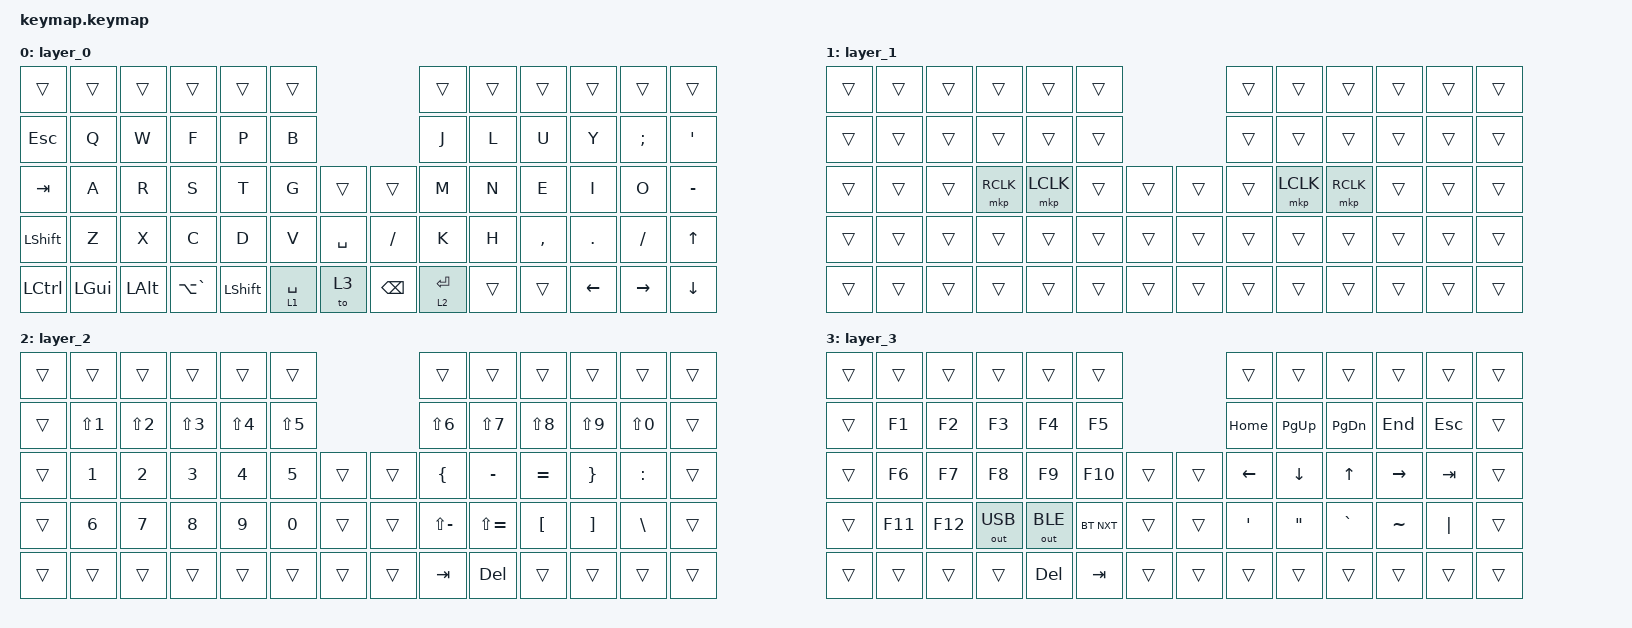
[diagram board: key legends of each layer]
#include <behaviors.dtsi>
#include <dt-bindings/zmk/bt.h>
#include <dt-bindings/zmk/keys.h>
#include <dt-bindings/zmk/outputs.h>
#include <dt-bindings/zmk/pointing.h>

/ {
    combos {
        compatible = "zmk,combos";

        bt_clear {
            bindings = <&bt BT_CLR>;
            key-positions = <28 29>;
            layers = <2>;
        };
    };

    keymap {
        compatible = "zmk,keymap";

        layer_0 {
            bindings = <
&trans     &trans        &trans    &trans         &trans      &trans                            &trans       &trans  &trans     &trans    &trans     &trans
&kp ESC    &kp Q         &kp W     &kp F          &kp P       &kp B                             &kp J        &kp L   &kp U      &kp Y     &kp SEMI   &kp SQT
&kp TAB    &kp A         &kp R     &kp S          &kp T       &kp G        &trans     &trans    &kp M        &kp N   &kp E      &kp I     &kp O      &kp MINUS
&kp LSHFT  &kp Z         &kp X     &kp C          &kp D       &kp V        &kp SPACE  &kp FSLH  &kp K        &kp H   &kp COMMA  &kp DOT   &kp FSLH   &kp UP
&kp LCTRL  &kp LEFT_GUI  &kp LALT  &kp LA(GRAVE)  &kp LSHIFT  &lt 1 SPACE  &to 3      &kp BSPC  &lt 2 ENTER  &trans  &trans     &kp LEFT  &kp RIGHT  &kp DOWN
            >;
        };

        layer_1 {
            bindings = <
&trans  &trans  &trans  &trans     &trans     &trans                  &trans  &trans     &trans     &trans  &trans  &trans
&trans  &trans  &trans  &trans     &trans     &trans                  &trans  &trans     &trans     &trans  &trans  &trans
&trans  &trans  &trans  &mkp RCLK  &mkp LCLK  &trans  &trans  &trans  &trans  &mkp LCLK  &mkp RCLK  &trans  &trans  &trans
&trans  &trans  &trans  &trans     &trans     &trans  &trans  &trans  &trans  &trans     &trans     &trans  &trans  &trans
&trans  &trans  &trans  &trans     &trans     &trans  &trans  &trans  &trans  &trans     &trans     &trans  &trans  &trans
            >;
        };

        layer_2 {
            bindings = <
&trans  &trans            &trans            &trans      &trans      &trans                      &trans          &trans         &trans            &trans             &trans         &trans
&trans  &kp LS(NUMBER_1)  &kp LS(NUMBER_2)  &kp LS(N3)  &kp LS(N4)  &kp LS(N5)                  &kp LS(N6)      &kp LS(N7)     &kp LS(N8)        &kp LS(N9)         &kp LS(N0)     &trans
&trans  &kp N1            &kp N2            &kp N3      &kp N4      &kp N5      &trans  &trans  &kp LEFT_BRACE  &kp MINUS      &kp EQUAL         &kp RIGHT_BRACE    &kp COLON      &trans
&trans  &kp N6            &kp N7            &kp N8      &kp N9      &kp N0      &trans  &trans  &kp LS(MINUS)   &kp LS(EQUAL)  &kp LEFT_BRACKET  &kp RIGHT_BRACKET  &kp BACKSLASH  &trans
&trans  &trans            &trans            &trans      &trans      &trans      &trans  &trans  &kp TAB         &kp DEL        &trans            &trans             &trans         &trans
            >;
        };

        layer_3 {
            bindings = <
&trans  &trans   &trans   &trans        &trans        &trans                      &trans            &trans     &trans         &trans     &trans      &trans
&trans  &kp F1   &kp F2   &kp F3        &kp F4        &kp F5                      &kp HOME          &kp PG_UP  &kp PAGE_DOWN  &kp END    &kp ESCAPE  &trans
&trans  &kp F6   &kp F7   &kp F8        &kp F9        &kp F10     &trans  &trans  &kp LEFT          &kp DOWN   &kp UP_ARROW   &kp RIGHT  &kp TAB     &trans
&trans  &kp F11  &kp F12  &out OUT_USB  &out OUT_BLE  &bt BT_NXT  &trans  &trans  &kp SINGLE_QUOTE  &kp DQT    &kp GRAVE      &kp TILDE  &kp PIPE    &trans
&trans  &trans   &trans   &trans        &kp DELETE    &kp TAB     &trans  &trans  &trans            &trans     &trans         &trans     &trans      &trans
            >;
        };
    };
};
